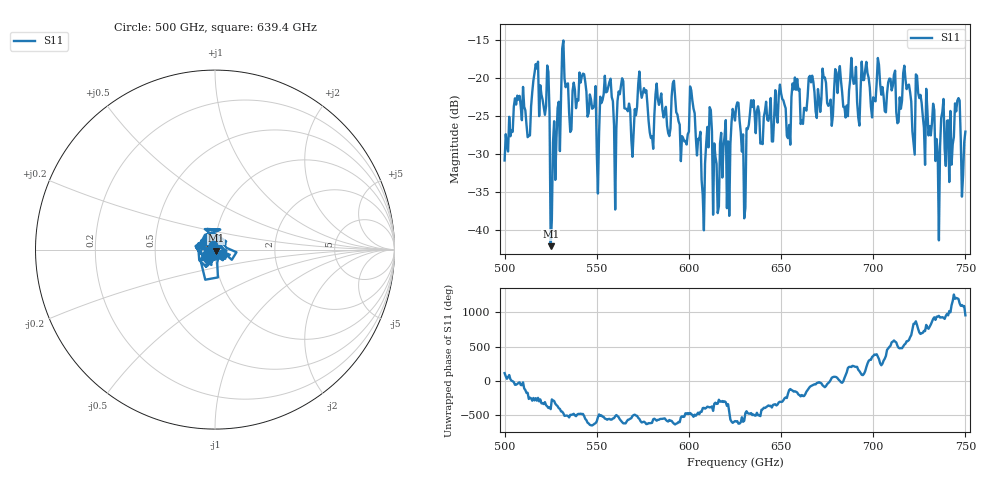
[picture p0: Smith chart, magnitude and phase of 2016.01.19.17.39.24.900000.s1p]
!Created with skrf (http://scikit-rf.org).
# GHz S RI R 50.0
!freq ReS11 ImS11
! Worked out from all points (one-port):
!   401 points, 500 GHz to 750 GHz, reference 50 ohm
!   lowest |S11| = -42.2 dB at 525 GHz (marker M1), VSWR 1.02, Z = 50.5 - j0.586 ohm
!   |S11| at or under -10 dB: start of sweep to end of sweep
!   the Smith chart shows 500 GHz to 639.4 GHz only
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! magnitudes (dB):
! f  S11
! 500 GHz  -30.9
! 506.9 GHz  -22.3
! 513.1 GHz  -27.7
! 516.9 GHz  -18.2
! 523.1 GHz  -18.4
! 525 GHz  -42.2
! 526.2 GHz  -28.6
! 531.2 GHz  -16.1
! 541.9 GHz  -19.8
! 551.2 GHz  -27.3
! 562.5 GHz  -22.2
! 570 GHz  -27.4
! 593.8 GHz  -24.8
! 596.9 GHz  -27.9
! 601.9 GHz  -23.0
! 608.1 GHz  -40.1
! 610.6 GHz  -29.2
! 614.4 GHz  -30.4
! 621.9 GHz  -38.2
! 625 GHz  -25.6
! 629.4 GHz  -27.4
! 634.4 GHz  -23.8
! 656.2 GHz  -20.7
! 687.5 GHz  -20.2
! 718.8 GHz  -21.1
! 735 GHz  -30.0
! 745.6 GHz  -23.0
! 750 GHz  -27.1
